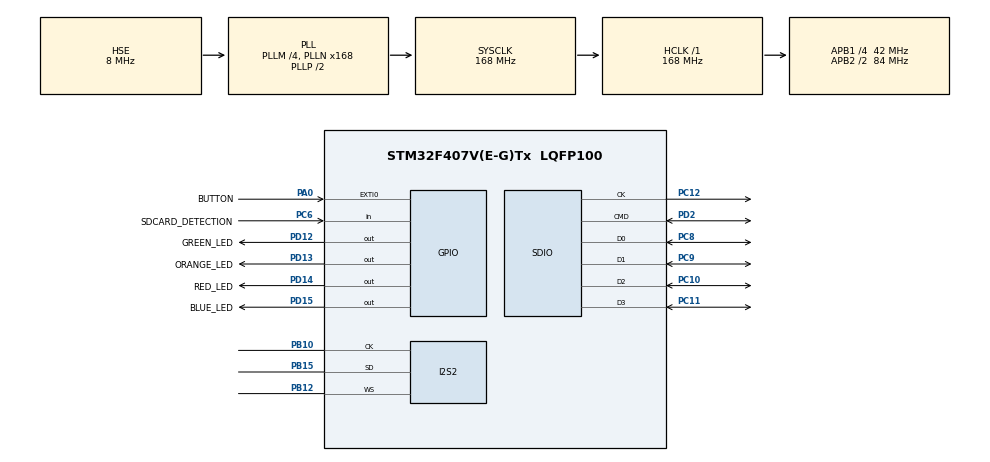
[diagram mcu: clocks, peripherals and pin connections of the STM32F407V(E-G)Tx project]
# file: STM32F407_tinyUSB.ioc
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Dma.Request0=SDIO_RX
Dma.Request1=SDIO_TX
Dma.Request2=SPI2_RX
Dma.SDIO_RX.0.Direction=DMA_PERIPH_TO_MEMORY
Dma.SDIO_RX.0.FIFOMode=DMA_FIFOMODE_ENABLE
Dma.SDIO_RX.0.FIFOThreshold=DMA_FIFO_THRESHOLD_FULL
Dma.SDIO_RX.0.Instance=DMA2_Stream3
Dma.SDIO_RX.0.MemBurst=DMA_MBURST_INC4
Dma.SDIO_RX.0.MemDataAlignment=DMA_MDATAALIGN_WORD
Dma.SDIO_RX.0.MemInc=DMA_MINC_ENABLE
Dma.SDIO_RX.0.Mode=DMA_PFCTRL
Dma.SDIO_RX.0.PeriphBurst=DMA_PBURST_INC4
Dma.SDIO_RX.0.PeriphDataAlignment=DMA_PDATAALIGN_WORD
Dma.SDIO_RX.0.PeriphInc=DMA_PINC_DISABLE
Dma.SDIO_RX.0.Priority=DMA_PRIORITY_LOW
Dma.SDIO_TX.1.Direction=DMA_MEMORY_TO_PERIPH
Dma.SDIO_TX.1.FIFOMode=DMA_FIFOMODE_ENABLE
Dma.SDIO_TX.1.FIFOThreshold=DMA_FIFO_THRESHOLD_FULL
Dma.SDIO_TX.1.Instance=DMA2_Stream6
Dma.SDIO_TX.1.MemBurst=DMA_MBURST_INC4
Dma.SDIO_TX.1.MemDataAlignment=DMA_MDATAALIGN_WORD
Dma.SDIO_TX.1.MemInc=DMA_MINC_ENABLE
Dma.SDIO_TX.1.Mode=DMA_PFCTRL
Dma.SDIO_TX.1.PeriphBurst=DMA_PBURST_INC4
Dma.SDIO_TX.1.PeriphDataAlignment=DMA_PDATAALIGN_WORD
Dma.SDIO_TX.1.PeriphInc=DMA_PINC_DISABLE
Dma.SDIO_TX.1.Priority=DMA_PRIORITY_LOW
Dma.SPI2_RX.2.Direction=DMA_PERIPH_TO_MEMORY
Dma.SPI2_RX.2.FIFOMode=DMA_FIFOMODE_DISABLE
Dma.SPI2_RX.2.Instance=DMA1_Stream3
Dma.SPI2_RX.2.MemDataAlignment=DMA_MDATAALIGN_HALFWORD
Dma.SPI2_RX.2.MemInc=DMA_MINC_ENABLE
Dma.SPI2_RX.2.Mode=DMA_CIRCULAR
Dma.SPI2_RX.2.PeriphDataAlignment=DMA_PDATAALIGN_HALFWORD
Dma.SPI2_RX.2.PeriphInc=DMA_PINC_DISABLE
Dma.SPI2_RX.2.Priority=DMA_PRIORITY_LOW
FATFS.BSP.number=1
FATFS._FS_RPATH=2
FATFS._MAX_LFN=128
FATFS._MAX_SS=4096
FATFS._USE_LFN=2
FATFS._USE_MUTEX=1
FATFS0.BSP.STBoard=false
FATFS0.BSP.api=Unknown
FATFS0.BSP.instance=PC6
FATFS0.BSP.ip=GPIO
FATFS0.BSP.mode=Input
FATFS0.BSP.name=Detect_SDIO
FATFS0.BSP.solution=PC6
FREERTOS.Tasks01=defaultTask,-1,2048,microphoneTask,Default,NULL,Dynamic,NULL,NULL
FREERTOS.configENABLE_FPU=1
FREERTOS.configGENERATE_RUN_TIME_STATS=0
FREERTOS.configTOTAL_HEAP_SIZE=32768
FREERTOS.configUSE_NEWLIB_REENTRANT=1
FREERTOS.configUSE_STATS_FORMATTING_FUNCTIONS=1
FREERTOS.configUSE_TIMERS=1
FREERTOS.configUSE_TRACE_FACILITY=1
I2S2.AudioFreq=I2S_AUDIOFREQ_48K
I2S2.CPOL=I2S_CPOL_HIGH
I2S2.DataFormat=I2S_DATAFORMAT_24B
I2S2.ErrorAudioFreq=-0.79 %
I2S2.FullDuplexMode=I2S_FULLDUPLEXMODE_DISABLE
I2S2.Instance=SPI$Index
I2S2.Mode=I2S_MODE_MASTER_RX
I2S2.RealAudioFreq=47.619 KHz
I2S2.VirtualMode=I2S_MODE_MASTER
Mcu.Family=STM32F4
Mcu.Name=STM32F407V(E-G)Tx
Mcu.Package=LQFP100
NVIC.DMA1_Stream3_IRQn=true\:5\:0\:false\:false\:true\:true\:false\:true\:true
NVIC.DMA2_Stream3_IRQn=true\:5\:0\:false\:false\:true\:true\:false\:true\:true
NVIC.DMA2_Stream6_IRQn=true\:5\:0\:false\:false\:true\:true\:false\:true\:true
NVIC.EXTI0_IRQn=true\:5\:0\:false\:false\:true\:true\:true\:true\:true
NVIC.PriorityGroup=NVIC_PRIORITYGROUP_4
NVIC.SDIO_IRQn=true\:5\:0\:false\:false\:true\:true\:true\:true\:true
NVIC.TIM1_UP_TIM10_IRQn=true\:15\:0\:false\:false\:true\:false\:false\:true\:true
NVIC.TimeBase=TIM1_UP_TIM10_IRQn
NVIC.TimeBaseIP=TIM1
PA0-WKUP.GPIO_Label=BUTTON
PA0-WKUP.GPIO_ModeDefaultEXTI=GPIO_MODE_IT_RISING
PA0-WKUP.GPIO_PuPd=GPIO_PULLDOWN
PA0-WKUP.Signal=GPXTI0
PA13.Mode=Serial_Wire
PA13.Signal=SYS_JTMS-SWDIO
PA14.Mode=Serial_Wire
PA14.Signal=SYS_JTCK-SWCLK
PB10.Mode=Half_Duplex_Master
PB10.Signal=I2S2_CK
PB12.Mode=Half_Duplex_Master
PB12.Signal=I2S2_WS
PB15.Mode=Half_Duplex_Master
PB15.Signal=I2S2_SD
PC10.Mode=SD_4_bits_Wide_bus
PC10.Signal=SDIO_D2
PC11.Mode=SD_4_bits_Wide_bus
PC11.Signal=SDIO_D3
PC12.Mode=SD_4_bits_Wide_bus
PC12.Signal=SDIO_CK
PC6.GPIO_Label=SDCARD_DETECTION
PC6.Signal=GPIO_Input
PC8.Mode=SD_4_bits_Wide_bus
PC8.Signal=SDIO_D0
PC9.Mode=SD_4_bits_Wide_bus
PC9.Signal=SDIO_D1
PD12.GPIO_Label=GREEN_LED
PD12.Signal=GPIO_Output
PD13.GPIO_Label=ORANGE_LED
PD13.Signal=GPIO_Output
PD14.GPIO_Label=RED_LED
PD14.Signal=GPIO_Output
PD15.GPIO_Label=BLUE_LED
PD15.Signal=GPIO_Output
PD2.Mode=SD_4_bits_Wide_bus
PD2.Signal=SDIO_CMD
PH0-OSC_IN.Mode=HSE-External-Oscillator
PH0-OSC_IN.Signal=RCC_OSC_IN
PH1-OSC_OUT.Mode=HSE-External-Oscillator
PH1-OSC_OUT.Signal=RCC_OSC_OUT
ProjectManager.HeapSize=0x200
ProjectManager.StackSize=0x400
ProjectManager.TargetToolchain=STM32CubeIDE
RCC.48MHZClocksFreq_Value=48000000
RCC.AHBFreq_Value=168000000
RCC.APB1CLKDivider=RCC_HCLK_DIV4
RCC.APB1Freq_Value=42000000
RCC.APB1TimFreq_Value=84000000
RCC.APB2CLKDivider=RCC_HCLK_DIV2
RCC.APB2Freq_Value=84000000
RCC.APB2TimFreq_Value=168000000
RCC.CortexFreq_Value=168000000
RCC.HCLKFreq_Value=168000000
RCC.HSE_VALUE=8000000
RCC.HSI_VALUE=16000000
RCC.LSE_VALUE=32768
RCC.PLLM=4
RCC.PLLN=168
RCC.PLLQ=7
RCC.PLLSourceVirtual=RCC_PLLSOURCE_HSE
RCC.SYSCLKFreq_VALUE=168000000
RCC.SYSCLKSource=RCC_SYSCLKSOURCE_PLLCLK
RCC.VCOOutputFreq_Value=336000000
VP_FATFS_VS_SDIO.Mode=SDIO
VP_FREERTOS_VS_CMSIS_V1.Mode=CMSIS_V1
VP_SYS_VS_tim1.Mode=TIM1
board=custom

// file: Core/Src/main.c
/* USER CODE BEGIN Header */
/**
  ******************************************************************************
  * @file           : main.c
  * @brief          : Main program body
  ******************************************************************************
  * @attention
  *
  * Copyright (c) 2023 STMicroelectronics.
  * All rights reserved.
  *
  * This software is licensed under terms that can be found in the LICENSE file
  * in the root directory of this software component.
  * If no LICENSE file comes with this software, it is provided AS-IS.
  *
  ******************************************************************************
  */
/* USER CODE END Header */
#include "main.h"
#include "cmsis_os.h"
#include "fatfs.h"

/* USER CODE BEGIN Includes */
#include "bsp/board.h"
#include "tusb.h"
#include "microphone.h"
#include "FreeRTOS_CLI.h"
#include "filesystem_shell_commands.h"
/* USER CODE END Includes */

/* USER CODE BEGIN PD */
#define USBD_STACK_SIZE    (3*configMINIMAL_STACK_SIZE/2) * (CFG_TUSB_DEBUG ? 2 : 1)
#define CDC_STACK_SZIE      3*configMINIMAL_STACK_SIZE
/* USER CODE END PD */

I2S_HandleTypeDef hi2s2;
DMA_HandleTypeDef hdma_spi2_rx;

SD_HandleTypeDef hsd;
DMA_HandleTypeDef hdma_sdio_rx;
DMA_HandleTypeDef hdma_sdio_tx;

osThreadId defaultTaskHandle;

void SystemClock_Config(void);
static void MX_GPIO_Init(void);
static void MX_DMA_Init(void);
static void MX_I2S2_Init(void);
static void MX_SDIO_SD_Init(void);
void microphoneTask(void const * argument);

/* USER CODE BEGIN 0 */
/* Blink pattern
 * - 250 ms  : device not mounted
 * - 1000 ms : device mounted
 * - 2500 ms : device is suspended
 */
enum  {
  BLINK_NOT_MOUNTED = 250,
  BLINK_MOUNTED = 1000,
  BLINK_SUSPENDED = 2500,
};

TimerHandle_t blinky_tm;
TimerHandle_t green_led_blinky_tm;
TimerHandle_t button_tm;

// USB Device Driver task
// This top level thread process all usb events and invoke callbacks
void usb_device_task(void* param)
{
  (void) param;

  // init device stack on configured roothub port
  // This should be called after scheduler/kernel is started.
  // Otherwise it could cause kernel issue since USB IRQ handler does use RTOS queue API.
  tud_init(BOARD_TUD_RHPORT);

  // RTOS forever loop
  while (1)
  {
    // put this thread to waiting state until there is new events
    tud_task();

    // following code only run if tud_task() process at least 1 event
    tud_cdc_write_flush();
  }
}

//--------------------------------------------------------------------+
// Device callbacks
//--------------------------------------------------------------------+

// Invoked when device is mounted
void tud_mount_cb(void)
{
  xTimerChangePeriod(blinky_tm, pdMS_TO_TICKS(BLINK_MOUNTED), 0);
}

// Invoked when device is unmounted
void tud_umount_cb(void)
{
  xTimerChangePeriod(blinky_tm, pdMS_TO_TICKS(BLINK_NOT_MOUNTED), 0);
}

// Invoked when usb bus is suspended
// remote_wakeup_en : if host allow us  to perform remote wakeup
// Within 7ms, device must draw an average of current less than 2.5 mA from bus
void tud_suspend_cb(bool remote_wakeup_en)
{
  (void) remote_wakeup_en;
  xTimerChangePeriod(blinky_tm, pdMS_TO_TICKS(BLINK_SUSPENDED), 0);
}

// Invoked when usb bus is resumed
void tud_resume_cb(void)
{
  xTimerChangePeriod(blinky_tm, pdMS_TO_TICKS(BLINK_MOUNTED), 0);
}

SemaphoreHandle_t cdc_tx_sem;
QueueHandle_t	  cdc_rx_queue;
QueueHandle_t 	  queue_button;

#define USB_PACKET_SIZE	64

void tud_cdc_send(uint8_t *buffer, uint32_t bufsize, TickType_t timeout){
	if (bufsize <= USB_PACKET_SIZE){
		tud_cdc_write((uint8_t *)buffer, bufsize);
	    tud_cdc_write_flush();
	    xSemaphoreTake(cdc_tx_sem, timeout);
	}else{
		uint32_t len = 0;
		while(bufsize){
			if (bufsize > USB_PACKET_SIZE){
				len = USB_PACKET_SIZE;
			}else{
				len = bufsize;
			}
			tud_cdc_write((uint8_t *)buffer, len);
			tud_cdc_write_flush();
			xSemaphoreTake(cdc_tx_sem, timeout);
			buffer += len;
			bufsize -= len;
		}
	}
}

uint32_t tud_cdc_receive(uint8_t *buffer, uint32_t bufsize, TickType_t timeout){
	uint32_t len;
	xQueueReceive(cdc_rx_queue, &len, timeout);
	if (len > bufsize){
		len = bufsize;
	}
	uint32_t count = tud_cdc_read(buffer, len);
	return count;
}

//--------------------------------------------------------------------+
// USB CDC
//--------------------------------------------------------------------+
#if 0
void cdc_task(void* params)
{
  (void) params;
  uint8_t buffer[16];
  cdc_rx_queue = xQueueCreate(8, sizeof(uint32_t));
  cdc_tx_sem = xSemaphoreCreateBinary();

	do {
		vTaskDelay(10);
	}while (!tud_cdc_connected());

  // RTOS forever loop
  while ( 1 )
  {
		/* This implementation reads a single character at a time.  Wait in the
		Blocked state until a character is received. */
		// read
		uint32_t count = tud_cdc_receive(buffer, 1, portMAX_DELAY);

        // read and echo back
		if (count){
			tud_cdc_send(buffer, count, portMAX_DELAY);
		}
  }
}
#endif

// Invoked when cdc when line state changed e.g connected/disconnected
void tud_cdc_line_state_cb(uint8_t itf, bool dtr, bool rts)
{
  (void) itf;
  (void) rts;

  // TODO set some indicator
  if ( dtr )
  {
    // Terminal connected
  }else
  {
    // Terminal disconnected
  }
}

// Invoked when CDC interface received data from host
void tud_cdc_rx_cb(uint8_t itf)
{
	portBASE_TYPE high_priority_task_woken = pdFALSE;
	uint32_t len = tud_cdc_n_available(itf);
	xQueueSendToBackFromISR(cdc_rx_queue, &len, &high_priority_task_woken);
	portYIELD_FROM_ISR(high_priority_task_woken)
}

void tud_cdc_tx_complete_cb(uint8_t itf) {
	  (void) itf;
	  xSemaphoreGive(cdc_tx_sem);
}

//--------------------------------------------------------------------+
// BLINKING TASK
//--------------------------------------------------------------------+
void led_blinky_cb(TimerHandle_t xTimer)
{
  (void) xTimer;
  static bool led_state = false;

  board_led_write(led_state);
  led_state = 1 - led_state; // toggle
}

void green_led_blinky_cb(TimerHandle_t xTimer)
{
  (void) xTimer;
  HAL_GPIO_TogglePin(GREEN_LED_GPIO_Port, GREEN_LED_Pin);
}

BaseType_t read_button(uint8_t *button, TickType_t timeout){
	return xQueueReceive(queue_button, button, timeout);
}

void button_cb(TimerHandle_t xTimer)
{
	(void) xTimer;
	if (HAL_GPIO_ReadPin(BUTTON_GPIO_Port, BUTTON_Pin) == GPIO_PIN_RESET) {
		// guardar em uma fila de botões
		uint8_t button = BUTTON_Pin;
		xQueueSend(queue_button, &button, 0);
	}
	__HAL_GPIO_EXTI_CLEAR_IT(BUTTON_Pin);
	HAL_NVIC_EnableIRQ(EXTI0_IRQn);
}

void HAL_GPIO_EXTI_Callback(uint16_t GPIO_Pin)
{
  if (GPIO_Pin == GPIO_PIN_0)
  {
    HAL_NVIC_DisableIRQ(EXTI0_IRQn);
	portBASE_TYPE pxHigherPriorityTaskWoken = pdFALSE;
    xTimerStartFromISR(button_tm, &pxHigherPriorityTaskWoken);
	portYIELD_FROM_ISR(pxHigherPriorityTaskWoken);
  }
}

//////////////////////////////////////////////////////////
//// Console
///////////////////////////////////////////////////////////
static BaseType_t prvTaskStatsCommand( char *pcWriteBuffer,
                                          size_t xWriteBufferLen,
										  const char *pcCommandString )
{
    static BaseType_t state = 0;

    if (!state){
        /* For simplicity, this function assumes the output buffer is large enough
        to hold all the text generated by executing the vTaskList() API function,
        so the xWriteBufferLen parameter is not used. */
        char *head = "Name		State  Priority  Stack  Number\n\r";
        ( void ) xWriteBufferLen;

        /* pcWriteBuffer is used directly as the vTaskList() parameter, so the table
        generated by executing vTaskList() is written directly into the output
        buffer. */
        strcpy(pcWriteBuffer, head);
        vTaskList( &pcWriteBuffer[strlen(head)]);

        /* The entire table was written directly to the output buffer.  Execution
        of this command is complete, so return pdFALSE. */
        state = 1;
        return pdTRUE;
    }else{
        state = 0;
        strcpy(pcWriteBuffer, "\n\r");
        return pdFALSE;
    }
}

FRESULT res;
DIR directory;
FILINFO fno;
static BaseType_t prvLSCommand( char *pcWriteBuffer,
                                size_t xWriteBufferLen,
								const char *pcCommandString )
{
    //static BaseType_t state = 0;
    char buffer[128+32];
    char *path = "0:/";

    //if (!state){
        // Abre o diretório
        res = f_opendir(&directory, path);
        if (res == FR_OK) {
            int len = sprintf(buffer, "Conteúdo do diretório: %s\n", path);
            strcpy(pcWriteBuffer, buffer);
            pcWriteBuffer += len;
            memset(buffer, 0, 64);
            len = sprintf(buffer, "----------------------------------------\n");
            strcpy(pcWriteBuffer, buffer);
            pcWriteBuffer += len;
            memset(buffer, 0, 64);

            while (1) {
                        // Lê o próximo item do diretório
                        res = f_readdir(&directory, &fno);

                        // Se houve erro ou chegou ao fim do diretório
                        if (res != FR_OK || fno.fname[0] == 0) break;

                        // Verifica se é diretório ou arquivo
                        if (fno.fattrib & AM_DIR) {
                        	len = sprintf(buffer, "[DIR]  %s/\n", fno.fname);
                        } else {
                        	len = sprintf(buffer, "[FILE] %s (%lu bytes)\n", fno.fname, fno.fsize);
                        }
                        strcpy(pcWriteBuffer, buffer);
                        pcWriteBuffer += len;
                        memset(buffer, 0, 64);
            }

            len = sprintf(buffer, "----------------------------------------\n");
            strcpy(pcWriteBuffer, buffer);
			f_closedir(&directory);
		} else {
			sprintf(buffer, "Erro ao abrir diretório: %d\n", res);
			strcpy(pcWriteBuffer, buffer);
		}

        //return pdTRUE;
        return pdFALSE;
        /*
    }else{
        state = 0;
        strcpy(pcWriteBuffer, "\n\r");
        return pdFALSE;
    }
    */
}

static const CLI_Command_Definition_t xTasksCommand =
{
    "tasks",
	"tasks: Lists all the installed tasks\r\n\r\n",
	prvTaskStatsCommand,
    0
};

static const CLI_Command_Definition_t xLsCommand =
{
    "ls2",
	"ls2: List files into the SD card\r\n\r\n",
	prvLSCommand,
    0
};

void print_string(char *string, TickType_t timeout) {
	tud_cdc_send((uint8_t *)string, strlen(string), timeout);
}

void print_char(char character, TickType_t timeout) {
	tud_cdc_send((uint8_t *)&character, 1, timeout);
}

#define cmdPARAMTER_NOT_USED		( ( void * ) 0 )
#define MAX_INPUT_LENGTH    32
#define MAX_OUTPUT_LENGTH   512
static void cdc_task(void *param){
	char cRxedChar;
	BaseType_t cInputIndex = 0;
	BaseType_t xMoreDataToFollow;
	/* The input and output buffers are declared static to keep them off the stack. */
	static char pcOutputString[ MAX_OUTPUT_LENGTH ], pcInputString[ MAX_INPUT_LENGTH ];

	FreeRTOS_CLIRegisterCommand( &xTasksCommand );
	FreeRTOS_CLIRegisterCommand( &xLsCommand );
	install_fs_shell_commands();

	cdc_rx_queue = xQueueCreate(8, sizeof(uint32_t));
	cdc_tx_sem = xSemaphoreCreateBinary();

	do {
		vTaskDelay(10);
	}while (!tud_cdc_connected());

	print_string("Welcome to FreeRTOS ", portMAX_DELAY);
	print_string(tskKERNEL_VERSION_NUMBER, portMAX_DELAY);
	print_string("\n\r", portMAX_DELAY);
	print_string(">>", portMAX_DELAY);

	while(1){
			/* This implementation reads a single character at a time.  Wait in the
	        Blocked state until a character is received. */
			(void)tud_cdc_receive((uint8_t *)&cRxedChar, 1, portMAX_DELAY);

	        if( cRxedChar == '\r' )
	        {
	            /* A newline character was received, so the input command string is
	            complete and can be processed.  Transmit a line separator, just to
	            make the output easier to read. */
	        	print_string("\n\r", portMAX_DELAY);

	            /* The command interpreter is called repeatedly until it returns
	            pdFALSE.  See the "Implementing a command" documentation for an
	            exaplanation of why this is. */
	            do
	            {
	                /* Send the command string to the command interpreter.  Any
	                output generated by the command interpreter will be placed in the
	                pcOutputString buffer. */
	                xMoreDataToFollow = FreeRTOS_CLIProcessCommand
	                              (
	                                  pcInputString,   /* The command string.*/
	                                  pcOutputString,  /* The output buffer. */
	                                  MAX_OUTPUT_LENGTH/* The size of the output buffer. */
	                              );

	                /* Write the output generated by the command interpreter to the
	                console. */
	                print_string(pcOutputString, portMAX_DELAY);
	                memset(pcOutputString, 0, MAX_OUTPUT_LENGTH);

	            } while( xMoreDataToFollow != pdFALSE );
                print_string(">>", portMAX_DELAY);

	            /* All the strings generated by the input command have been sent.
	            Processing of the command is complete.  Clear the input string ready
	            to receive the next command. */
	            cInputIndex = 0;
	            memset( pcInputString, 0x00, MAX_INPUT_LENGTH );
	        }
	        else
	        {
	            /* The if() clause performs the processing after a newline character
	            is received.  This else clause performs the processing if any other
	            character is received. */

	            if( cRxedChar == '\n' )
	            {
	                /* Ignore carriage returns. */
	            }
	            //else if( cRxedChar == '\b' )
	            else if( cRxedChar == 0x7F )
	            {
	                /* Backspace was pressed.  Erase the last character in the input
	                buffer - if there are any. */
	                if( cInputIndex > 0 )
	                {
	                    cInputIndex--;
	                    pcInputString[ cInputIndex ] = (char)'\0';
		                print_char(cRxedChar, portMAX_DELAY);
	                }
	            }
	            else
	            {
	                /* A character was entered.  It was not a new line, backspace
	                or carriage return, so it is accepted as part of the input and
	                placed into the input buffer.  When a \n is entered the complete
	                string will be passed to the command interpreter. */
	                if( cInputIndex < MAX_INPUT_LENGTH )
	                {
	                    pcInputString[ cInputIndex ] = cRxedChar;
	                    cInputIndex++;
	                }
	                print_char(cRxedChar, portMAX_DELAY);
	            }
	        }
	}
}
/* USER CODE END 0 */

int main(void)
{

  /* MCU Configuration--------------------------------------------------------*/

  /* Reset of all peripherals, Initializes the Flash interface and the Systick. */
  HAL_Init();

  /* Configure the system clock */
  SystemClock_Config();

  /* USER CODE BEGIN SysInit */
  board_init();
  /* USER CODE END SysInit */

  /* Initialize all configured peripherals */
  MX_GPIO_Init();
  MX_DMA_Init();
  MX_I2S2_Init();
  MX_SDIO_SD_Init();
  MX_FATFS_Init();

  /* USER CODE BEGIN RTOS_TIMERS */
  /* start timers, add new ones, ... */
  blinky_tm = xTimerCreate(NULL, pdMS_TO_TICKS(BLINK_NOT_MOUNTED), true, NULL, led_blinky_cb);
  green_led_blinky_tm = xTimerCreate(NULL, pdMS_TO_TICKS(500), true, NULL, green_led_blinky_cb);
  button_tm = xTimerCreate("Button timer", pdMS_TO_TICKS(100), pdFALSE, NULL, button_cb);
  xTimerStart(blinky_tm, 0);
  xTimerStart(green_led_blinky_tm, 0);
  /* USER CODE END RTOS_TIMERS */

  /* USER CODE BEGIN RTOS_QUEUES */
  /* add queues, ... */
  queue_button = xQueueCreate(32, sizeof(uint8_t));
  /* USER CODE END RTOS_QUEUES */

  /* Create the thread(s) */
  /* definition and creation of defaultTask */
  osThreadDef(defaultTask, microphoneTask, osPriorityBelowNormal, 0, 2048);
  defaultTaskHandle = osThreadCreate(osThread(defaultTask), NULL);

  /* USER CODE BEGIN RTOS_THREADS */
  /* add threads, ... */
  xTaskCreate( usb_device_task, "usbd", USBD_STACK_SIZE, NULL, configMAX_PRIORITIES-1, NULL);
  xTaskCreate( cdc_task, "cdc", CDC_STACK_SZIE, NULL, configMAX_PRIORITIES-2, NULL);
  /* USER CODE END RTOS_THREADS */

  /* Start scheduler */
  osKernelStart();

  /* We should never get here as control is now taken by the scheduler */

  /* Infinite loop */
  while (1)
  {

  }
}

void SystemClock_Config(void)
{
  RCC_OscInitTypeDef RCC_OscInitStruct = {0};
  RCC_ClkInitTypeDef RCC_ClkInitStruct = {0};

  /** Configure the main internal regulator output voltage
  */
  __HAL_RCC_PWR_CLK_ENABLE();
  __HAL_PWR_VOLTAGESCALING_CONFIG(PWR_REGULATOR_VOLTAGE_SCALE1);

  /** Initializes the RCC Oscillators according to the specified parameters
  * in the RCC_OscInitTypeDef structure.
  */
  RCC_OscInitStruct.OscillatorType = RCC_OSCILLATORTYPE_HSE;
  RCC_OscInitStruct.HSEState = RCC_HSE_ON;
  RCC_OscInitStruct.PLL.PLLState = RCC_PLL_ON;
  RCC_OscInitStruct.PLL.PLLSource = RCC_PLLSOURCE_HSE;
  RCC_OscInitStruct.PLL.PLLM = 4;
  RCC_OscInitStruct.PLL.PLLN = 168;
  RCC_OscInitStruct.PLL.PLLP = RCC_PLLP_DIV2;
  RCC_OscInitStruct.PLL.PLLQ = 7;
  if (HAL_RCC_OscConfig(&RCC_OscInitStruct) != HAL_OK)
  {
    Error_Handler();
  }

  /** Initializes the CPU, AHB and APB buses clocks
  */
  RCC_ClkInitStruct.ClockType = RCC_CLOCKTYPE_HCLK|RCC_CLOCKTYPE_SYSCLK
                              |RCC_CLOCKTYPE_PCLK1|RCC_CLOCKTYPE_PCLK2;
  RCC_ClkInitStruct.SYSCLKSource = RCC_SYSCLKSOURCE_PLLCLK;
  RCC_ClkInitStruct.AHBCLKDivider = RCC_SYSCLK_DIV1;
  RCC_ClkInitStruct.APB1CLKDivider = RCC_HCLK_DIV4;
  RCC_ClkInitStruct.APB2CLKDivider = RCC_HCLK_DIV2;

  if (HAL_RCC_ClockConfig(&RCC_ClkInitStruct, FLASH_LATENCY_5) != HAL_OK)
  {
    Error_Handler();
  }
}

static void MX_I2S2_Init(void)
{

  hi2s2.Instance = SPI2;
  hi2s2.Init.Mode = I2S_MODE_MASTER_RX;
  hi2s2.Init.Standard = I2S_STANDARD_PHILIPS;
  hi2s2.Init.DataFormat = I2S_DATAFORMAT_24B;
  hi2s2.Init.MCLKOutput = I2S_MCLKOUTPUT_DISABLE;
  hi2s2.Init.AudioFreq = I2S_AUDIOFREQ_48K;
  hi2s2.Init.CPOL = I2S_CPOL_HIGH;
  hi2s2.Init.ClockSource = I2S_CLOCK_PLL;
  hi2s2.Init.FullDuplexMode = I2S_FULLDUPLEXMODE_DISABLE;
  if (HAL_I2S_Init(&hi2s2) != HAL_OK)
  {
    Error_Handler();
  }

}

static void MX_SDIO_SD_Init(void)
{

  hsd.Instance = SDIO;
  hsd.Init.ClockEdge = SDIO_CLOCK_EDGE_RISING;
  hsd.Init.ClockBypass = SDIO_CLOCK_BYPASS_DISABLE;
  hsd.Init.ClockPowerSave = SDIO_CLOCK_POWER_SAVE_DISABLE;
  hsd.Init.BusWide = SDIO_BUS_WIDE_1B;
  hsd.Init.HardwareFlowControl = SDIO_HARDWARE_FLOW_CONTROL_DISABLE;
  hsd.Init.ClockDiv = 0;

}

static void MX_DMA_Init(void)
{

  /* DMA controller clock enable */
  __HAL_RCC_DMA2_CLK_ENABLE();
  __HAL_RCC_DMA1_CLK_ENABLE();

  /* DMA interrupt init */
  /* DMA1_Stream3_IRQn interrupt configuration */
  HAL_NVIC_SetPriority(DMA1_Stream3_IRQn, 5, 0);
  HAL_NVIC_EnableIRQ(DMA1_Stream3_IRQn);
  /* DMA2_Stream3_IRQn interrupt configuration */
  HAL_NVIC_SetPriority(DMA2_Stream3_IRQn, 5, 0);
  HAL_NVIC_EnableIRQ(DMA2_Stream3_IRQn);
  /* DMA2_Stream6_IRQn interrupt configuration */
  HAL_NVIC_SetPriority(DMA2_Stream6_IRQn, 5, 0);
  HAL_NVIC_EnableIRQ(DMA2_Stream6_IRQn);

}

static void MX_GPIO_Init(void)
{
  GPIO_InitTypeDef GPIO_InitStruct = {0};

  /* GPIO Ports Clock Enable */
  __HAL_RCC_GPIOH_CLK_ENABLE();
  __HAL_RCC_GPIOA_CLK_ENABLE();
  __HAL_RCC_GPIOB_CLK_ENABLE();
  __HAL_RCC_GPIOD_CLK_ENABLE();
  __HAL_RCC_GPIOC_CLK_ENABLE();

  /*Configure GPIO pin Output Level */
  HAL_GPIO_WritePin(GPIOD, GREEN_LED_Pin|ORANGE_LED_Pin|RED_LED_Pin|BLUE_LED_Pin, GPIO_PIN_RESET);

  /*Configure GPIO pin : BUTTON_Pin */
  GPIO_InitStruct.Pin = BUTTON_Pin;
  GPIO_InitStruct.Mode = GPIO_MODE_IT_RISING;
  GPIO_InitStruct.Pull = GPIO_PULLDOWN;
  HAL_GPIO_Init(BUTTON_GPIO_Port, &GPIO_InitStruct);

  /*Configure GPIO pins : GREEN_LED_Pin ORANGE_LED_Pin RED_LED_Pin BLUE_LED_Pin */
  GPIO_InitStruct.Pin = GREEN_LED_Pin|ORANGE_LED_Pin|RED_LED_Pin|BLUE_LED_Pin;
  GPIO_InitStruct.Mode = GPIO_MODE_OUTPUT_PP;
  GPIO_InitStruct.Pull = GPIO_NOPULL;
  GPIO_InitStruct.Speed = GPIO_SPEED_FREQ_LOW;
  HAL_GPIO_Init(GPIOD, &GPIO_InitStruct);

  /*Configure GPIO pin : SDCARD_DETECTION_Pin */
  GPIO_InitStruct.Pin = SDCARD_DETECTION_Pin;
  GPIO_InitStruct.Mode = GPIO_MODE_INPUT;
  GPIO_InitStruct.Pull = GPIO_NOPULL;
  HAL_GPIO_Init(SDCARD_DETECTION_GPIO_Port, &GPIO_InitStruct);

  /* EXTI interrupt init*/
  HAL_NVIC_SetPriority(EXTI0_IRQn, 5, 0);
  HAL_NVIC_EnableIRQ(EXTI0_IRQn);

}

void microphoneTask(void const * argument)
{
  /* USER CODE BEGIN 5 */
  uint32_t file_number = 0;
  char filename[64];
  uint8_t button;

  mic_init();

  #if 0
  mic_start();
  while(1){
	  uint32_t bytes_read = mic_read();
	  vTaskDelay(1000);
  }
  #endif

  if (f_mount(&SDFatFS, SDPath, 1) != FR_OK){
	  vTaskSuspend(NULL);
  }

  /* Infinite loop */
  for(;;)
  {
	read_button(&button, portMAX_DELAY);
	HAL_GPIO_WritePin(BLUE_LED_GPIO_Port, BLUE_LED_Pin, GPIO_PIN_SET);
	sprintf(filename, "audio_%ld.wav", file_number);
	record_wav(filename, 1);
	HAL_GPIO_WritePin(BLUE_LED_GPIO_Port, BLUE_LED_Pin, GPIO_PIN_RESET);
	file_number++;
    //osDelay(10000);
  }
  /* USER CODE END 5 */
}

void HAL_TIM_PeriodElapsedCallback(TIM_HandleTypeDef *htim)
{
  if (htim->Instance == TIM1)
  {
    HAL_IncTick();
  }
}

void Error_Handler(void)
{
  __disable_irq();
  while (1)
  {
  }
}

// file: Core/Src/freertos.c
/* USER CODE BEGIN Header */
/**
  ******************************************************************************
  * File Name          : freertos.c
  * Description        : Code for freertos applications
  ******************************************************************************
  * @attention
  *
  * Copyright (c) 2023 STMicroelectronics.
  * All rights reserved.
  *
  * This software is licensed under terms that can be found in the LICENSE file
  * in the root directory of this software component.
  * If no LICENSE file comes with this software, it is provided AS-IS.
  *
  ******************************************************************************
  */
/* USER CODE END Header */

#include "FreeRTOS.h"
#include "task.h"
#include "main.h"

/* GetIdleTaskMemory prototype (linked to static allocation support) */
void vApplicationGetIdleTaskMemory( StaticTask_t **ppxIdleTaskTCBBuffer, StackType_t **ppxIdleTaskStackBuffer, uint32_t *pulIdleTaskStackSize );

/* GetTimerTaskMemory prototype (linked to static allocation support) */
void vApplicationGetTimerTaskMemory( StaticTask_t **ppxTimerTaskTCBBuffer, StackType_t **ppxTimerTaskStackBuffer, uint32_t *pulTimerTaskStackSize );

/* USER CODE BEGIN GET_IDLE_TASK_MEMORY */
static StaticTask_t xIdleTaskTCBBuffer;
static StackType_t xIdleStack[configMINIMAL_STACK_SIZE];

void vApplicationGetIdleTaskMemory( StaticTask_t **ppxIdleTaskTCBBuffer, StackType_t **ppxIdleTaskStackBuffer, uint32_t *pulIdleTaskStackSize )
{
  *ppxIdleTaskTCBBuffer = &xIdleTaskTCBBuffer;
  *ppxIdleTaskStackBuffer = &xIdleStack[0];
  *pulIdleTaskStackSize = configMINIMAL_STACK_SIZE;
  /* place for user code */
}
/* USER CODE END GET_IDLE_TASK_MEMORY */

/* USER CODE BEGIN GET_TIMER_TASK_MEMORY */
static StaticTask_t xTimerTaskTCBBuffer;
static StackType_t xTimerStack[configTIMER_TASK_STACK_DEPTH];

void vApplicationGetTimerTaskMemory( StaticTask_t **ppxTimerTaskTCBBuffer, StackType_t **ppxTimerTaskStackBuffer, uint32_t *pulTimerTaskStackSize )
{
  *ppxTimerTaskTCBBuffer = &xTimerTaskTCBBuffer;
  *ppxTimerTaskStackBuffer = &xTimerStack[0];
  *pulTimerTaskStackSize = configTIMER_TASK_STACK_DEPTH;
  /* place for user code */
}
/* USER CODE END GET_TIMER_TASK_MEMORY */
